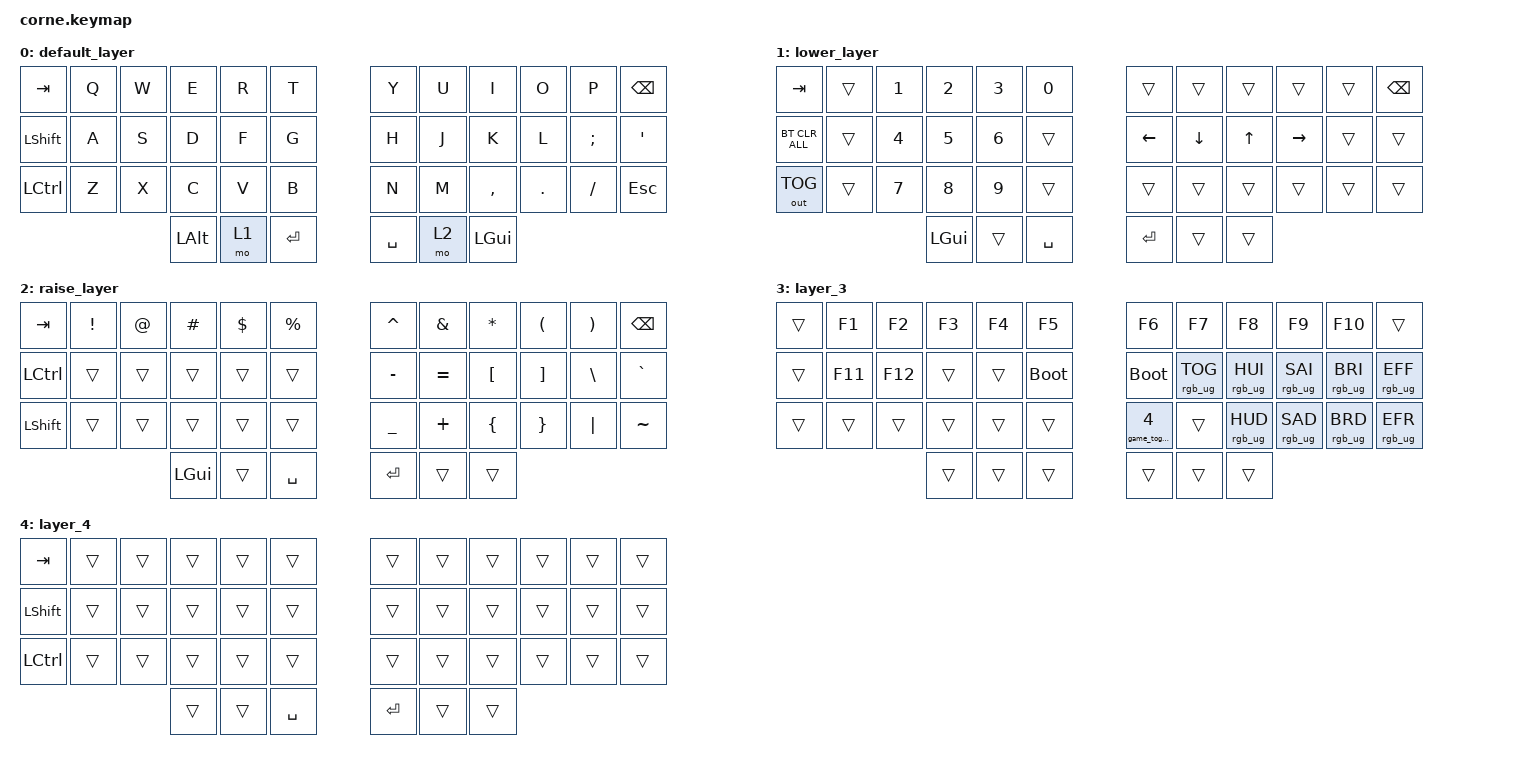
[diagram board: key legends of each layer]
/*
 * Copyright (c) 2020 The ZMK Contributors
 *
 * SPDX-License-Identifier: MIT
 */

#include <behaviors.dtsi>
#include <dt-bindings/zmk/bt.h>
#include <dt-bindings/zmk/keys.h>
#include <dt-bindings/zmk/rgb.h>
#include <dt-bindings/zmk/outputs.h>

/ {
    behaviors {
        game_toggle: game_toggle {
            compatible = "zmk,behavior-toggle-layer";
            label = "GAME_TOGGLE";
            #binding-cells = <1>;
        };
    };

    keymap {
        compatible = "zmk,keymap";

        default_layer {
            // -----------------------------------------------------------------------------------------
            // |  TAB |  Q  |  W  |  E  |  R  |  T  |   |  Y  |  U   |  I  |  O  |  P  | BSPC |
            // | CTRL |  A  |  S  |  D  |  F  |  G  |   |  H  |  J   |  K  |  L  |  ;  |  '   |
            // | SHFT |  Z  |  X  |  C  |  V  |  B  |   |  N  |  M   |  ,  |  .  |  /  | ESC  |
            //                    | GUI | LWR | SPC |   | ENT | RSE  | ALT |

            bindings = <
&kp TAB           &kp Q  &kp W  &kp E         &kp R  &kp T        &kp Y      &kp U  &kp I      &kp O    &kp P     &kp BSPC
&kp LEFT_SHIFT    &kp A  &kp S  &kp D         &kp F  &kp G        &kp H      &kp J  &kp K      &kp L    &kp SEMI  &kp SQT
&kp LEFT_CONTROL  &kp Z  &kp X  &kp C         &kp V  &kp B        &kp N      &kp M  &kp COMMA  &kp DOT  &kp FSLH  &kp ESC
                                &kp LEFT_ALT  &mo 1  &kp ENTER    &kp SPACE  &mo 2  &kp LGUI
            >;
        };

        lower_layer {
            // -----------------------------------------------------------------------------------------
            // |  TAB |  1  |  2  |  3  |  4  |  5  |   |  6  |  7  |  8  |  9  |  0  | BSPC |
            // | BTCLR| BT1 | BT2 | BT3 | BT4 | BT5 |   | LFT | DWN |  UP | RGT |     |      |
            // | SHFT |     |     |     |     |     |   |     |     |     |     |     |      |
            //                    | GUI |     | SPC |   | ENT |     | ALT |

            bindings = <
&kp TAB     &trans  &kp N1  &kp NUMBER_2  &kp N3  &kp N0       &trans    &trans    &trans  &trans     &trans  &kp BSPC
&bt BT_CLR_ALL  &trans  &kp N4  &kp N5        &kp N6  &trans       &kp LEFT  &kp DOWN  &kp UP  &kp RIGHT  &trans  &trans
&out OUT_TOG   &trans  &kp N7  &kp N8        &kp N9  &trans       &trans    &trans    &trans  &trans     &trans  &trans
                            &kp LGUI      &trans  &kp SPACE    &kp RET   &trans    &trans
            >;
        };

        raise_layer {
            // -----------------------------------------------------------------------------------------
            // |  TAB |  !  |  @  |  #  |  $  |  %  |   |  ^  |  &  |  *  |  (  |  )  | BSPC |
            // | CTRL |     |     |     |     |     |   |  -  |  =  |  [  |  ]  |  \  |  `   |
            // | SHFT |     |     |     |     |     |   |  _  |  +  |  {  |  }  | "|" |  ~   |
            //                    | GUI |     | SPC |   | ENT |     | ALT |

            bindings = <
&kp TAB    &kp EXCL  &kp AT  &kp HASH  &kp DLLR  &kp PRCNT    &kp CARET  &kp AMPS   &kp ASTRK  &kp LPAR  &kp RPAR  &kp BSPC
&kp LCTRL  &trans    &trans  &trans    &trans    &trans       &kp MINUS  &kp EQUAL  &kp LBKT   &kp RBKT  &kp BSLH  &kp GRAVE
&kp LSHFT  &trans    &trans  &trans    &trans    &trans       &kp UNDER  &kp PLUS   &kp LBRC   &kp RBRC  &kp PIPE  &kp TILDE
                             &kp LGUI  &trans    &kp SPACE    &kp RET    &trans     &trans
            >;
        };

        layer_3 {
            bindings = <
&trans  &kp F1   &kp F2   &kp F3  &kp F4  &kp F5         &kp F6          &kp F7           &kp F8           &kp F9           &kp F10          &trans
&trans  &kp F11  &kp F12  &trans  &trans  &bootloader    &bootloader     &rgb_ug RGB_TOG  &rgb_ug RGB_HUI  &rgb_ug RGB_SAI  &rgb_ug RGB_BRI  &rgb_ug RGB_EFF
&trans  &trans   &trans   &trans  &trans  &trans         &game_toggle 4  &trans           &rgb_ug RGB_HUD  &rgb_ug RGB_SAD  &rgb_ug RGB_BRD  &rgb_ug RGB_EFR
                          &trans  &trans  &trans         &trans          &trans           &trans
            >;
        };

        layer_4 {
            bindings = <
&kp TAB    &trans   &trans   &trans   &trans   &trans      &trans  &trans  &trans  &trans  &trans  &trans
&kp LSHFT  &trans  &trans  &trans   &trans   &trans        &trans  &trans  &trans  &trans  &trans  &trans
&kp LCTRL  &trans  &trans  &trans  &trans  &trans        &trans  &trans  &trans  &trans  &trans  &trans
                           &trans  &trans  &kp SPACE    &kp RET  &trans  &trans
            >;
        };
    };

    conditional_layers {
        compatible = "zmk,conditional-layers";

        f-layer {
            if-layers = <1 2>;
            then-layer = <3>;
        };
    };
};
